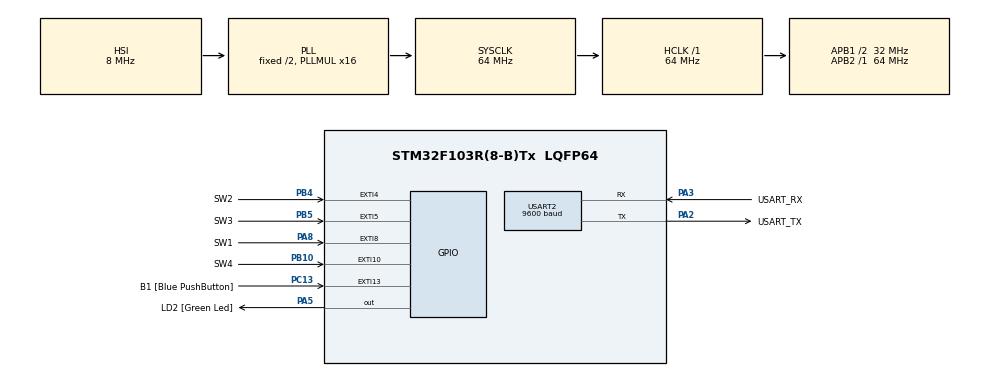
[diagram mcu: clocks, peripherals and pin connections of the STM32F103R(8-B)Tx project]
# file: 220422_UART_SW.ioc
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Mcu.Family=STM32F1
Mcu.Name=STM32F103R(8-B)Tx
Mcu.Package=LQFP64
NVIC.EXTI15_10_IRQn=true\:0\:0\:false\:false\:true\:true\:true\:true
NVIC.EXTI4_IRQn=true\:0\:0\:false\:false\:true\:true\:true\:true
NVIC.EXTI9_5_IRQn=true\:0\:0\:false\:false\:true\:true\:true\:true
NVIC.PriorityGroup=NVIC_PRIORITYGROUP_4
PA13.GPIO_Label=TMS
PA13.Mode=Serial_Wire
PA13.Signal=SYS_JTMS-SWDIO
PA14.GPIO_Label=TCK
PA14.Mode=Serial_Wire
PA14.Signal=SYS_JTCK-SWCLK
PA2.GPIO_Label=USART_TX
PA2.GPIO_Mode=GPIO_MODE_AF_PP
PA2.GPIO_PuPd=GPIO_NOPULL
PA2.GPIO_Speed=GPIO_SPEED_FREQ_LOW
PA2.Mode=Asynchronous
PA2.Signal=USART2_TX
PA3.GPIO_Label=USART_RX
PA3.GPIO_Mode=GPIO_MODE_AF_PP
PA3.GPIO_PuPd=GPIO_NOPULL
PA3.GPIO_Speed=GPIO_SPEED_FREQ_LOW
PA3.Mode=Asynchronous
PA3.Signal=USART2_RX
PA5.GPIO_Label=LD2 [Green Led]
PA5.GPIO_ModeDefaultOutputPP=GPIO_MODE_OUTPUT_PP
PA5.GPIO_PuPd=GPIO_NOPULL
PA5.GPIO_Speed=GPIO_SPEED_FREQ_LOW
PA5.Signal=GPIO_Output
PA8.GPIO_Label=SW1
PA8.GPIO_ModeDefaultEXTI=GPIO_MODE_IT_FALLING
PA8.GPIO_PuPd=GPIO_NOPULL
PA8.Signal=GPXTI8
PB10.GPIO_Label=SW4
PB10.GPIO_ModeDefaultEXTI=GPIO_MODE_IT_FALLING
PB10.GPIO_PuPd=GPIO_NOPULL
PB10.Signal=GPXTI10
PB3.GPIO_Label=SWO
PB3.Signal=SYS_JTDO-TRACESWO
PB4.GPIO_Label=SW2
PB4.GPIO_ModeDefaultEXTI=GPIO_MODE_IT_FALLING
PB4.GPIO_PuPd=GPIO_NOPULL
PB4.Signal=GPXTI4
PB5.GPIO_Label=SW3
PB5.GPIO_ModeDefaultEXTI=GPIO_MODE_IT_FALLING
PB5.GPIO_PuPd=GPIO_NOPULL
PB5.Signal=GPXTI5
PC13-TAMPER-RTC.GPIO_Label=B1 [Blue PushButton]
PC13-TAMPER-RTC.GPIO_PuPd=GPIO_NOPULL
PC13-TAMPER-RTC.Signal=GPXTI13
PC14-OSC32_IN.Mode=LSE-External-Oscillator
PC14-OSC32_IN.Signal=RCC_OSC32_IN
PC15-OSC32_OUT.Mode=LSE-External-Oscillator
PC15-OSC32_OUT.Signal=RCC_OSC32_OUT
PD0-OSC_IN.Mode=HSE-External-Clock-Source
PD0-OSC_IN.Signal=RCC_OSC_IN
PD1-OSC_OUT.Mode=HSE-External-Clock-Source
PD1-OSC_OUT.Signal=RCC_OSC_OUT
ProjectManager.HeapSize=0x200
ProjectManager.StackSize=0x400
ProjectManager.TargetToolchain=STM32CubeIDE
RCC.AHBFreq_Value=64000000
RCC.APB1CLKDivider=RCC_HCLK_DIV2
RCC.APB1Freq_Value=32000000
RCC.APB1TimFreq_Value=64000000
RCC.APB2Freq_Value=64000000
RCC.APB2TimFreq_Value=64000000
RCC.HCLKFreq_Value=64000000
RCC.PLLMUL=RCC_PLL_MUL16
RCC.RTCClockSelection=RCC_RTCCLKSOURCE_LSE
RCC.SYSCLKFreq_VALUE=64000000
RCC.SYSCLKSource=RCC_SYSCLKSOURCE_PLLCLK
RCC.USBFreq_Value=64000000
USART2.BaudRate=9600
USART2.VirtualMode=VM_ASYNC
board=NUCLEO-F103RB

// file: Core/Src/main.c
/* USER CODE BEGIN Header */
/**
  ******************************************************************************
  * @file           : main.c
  * @brief          : Main program body
  ******************************************************************************
  * @attention
  *
  * Copyright (c) 2022 STMicroelectronics.
  * All rights reserved.
  *
  * This software is licensed under terms that can be found in the LICENSE file
  * in the root directory of this software component.
  * If no LICENSE file comes with this software, it is provided AS-IS.
  *
  ******************************************************************************
  */
/* USER CODE END Header */
#include "main.h"

/* USER CODE BEGIN PD */
#define TxBufferSize (countof(TxBuffer)-1)
#define TxBufferSize_2 (countof(TxBuffer_2)-1)
#define TxBufferSize_3 (countof(TxBuffer_3)-1)
#define TxBufferSize_4 (countof(TxBuffer_4)-1)
#define TxBufferSize_5 (countof(TxBuffer_5)-1)
#define RxBufferSize 0xFF
#define countof(a) (sizeof(a)/sizeof(*a))
/* USER CODE END PD */

 UART_HandleTypeDef huart2;

/* USER CODE BEGIN PV */
uint8_t TxBuffer[] = "\n\rUART Example 2 (Transmission Success !!)\n\r\n\r";
uint8_t TxBuffer_2[] = "\n\r Button1 is pressed !!\n\r";
uint8_t TxBuffer_3[] = "\n\r Button2 is pressed !!\n\r";
uint8_t TxBuffer_4[] = "\n\r Button3 is pressed !!\n\r";
uint8_t TxBuffer_5[] = "\n\r Button4 is pressed !!\n\r";
uint8_t RxBuffer[RxBufferSize];
/* USER CODE END PV */

void SystemClock_Config(void);
static void MX_GPIO_Init(void);
static void MX_USART2_UART_Init(void);

int main(void)
{

  /* MCU Configuration--------------------------------------------------------*/

  /* Reset of all peripherals, Initializes the Flash interface and the Systick. */
  HAL_Init();

  /* Configure the system clock */
  SystemClock_Config();

  /* Initialize all configured peripherals */
  MX_GPIO_Init();
  MX_USART2_UART_Init();
  /* USER CODE BEGIN 2 */
  HAL_UART_Transmit(&huart2, (uint8_t*)TxBuffer, TxBufferSize, 0xFFFF);
  /* USER CODE END 2 */

  /* Infinite loop */
  while (1)
  {

  }
}

void SystemClock_Config(void)
{
  RCC_OscInitTypeDef RCC_OscInitStruct = {0};
  RCC_ClkInitTypeDef RCC_ClkInitStruct = {0};

  /** Initializes the RCC Oscillators according to the specified parameters
  * in the RCC_OscInitTypeDef structure.
  */
  RCC_OscInitStruct.OscillatorType = RCC_OSCILLATORTYPE_HSI;
  RCC_OscInitStruct.HSIState = RCC_HSI_ON;
  RCC_OscInitStruct.HSICalibrationValue = RCC_HSICALIBRATION_DEFAULT;
  RCC_OscInitStruct.PLL.PLLState = RCC_PLL_ON;
  RCC_OscInitStruct.PLL.PLLSource = RCC_PLLSOURCE_HSI_DIV2;
  RCC_OscInitStruct.PLL.PLLMUL = RCC_PLL_MUL16;
  if (HAL_RCC_OscConfig(&RCC_OscInitStruct) != HAL_OK)
  {
    Error_Handler();
  }

  /** Initializes the CPU, AHB and APB buses clocks
  */
  RCC_ClkInitStruct.ClockType = RCC_CLOCKTYPE_HCLK|RCC_CLOCKTYPE_SYSCLK
                              |RCC_CLOCKTYPE_PCLK1|RCC_CLOCKTYPE_PCLK2;
  RCC_ClkInitStruct.SYSCLKSource = RCC_SYSCLKSOURCE_PLLCLK;
  RCC_ClkInitStruct.AHBCLKDivider = RCC_SYSCLK_DIV1;
  RCC_ClkInitStruct.APB1CLKDivider = RCC_HCLK_DIV2;
  RCC_ClkInitStruct.APB2CLKDivider = RCC_HCLK_DIV1;

  if (HAL_RCC_ClockConfig(&RCC_ClkInitStruct, FLASH_LATENCY_2) != HAL_OK)
  {
    Error_Handler();
  }
}

static void MX_USART2_UART_Init(void)
{

  huart2.Instance = USART2;
  huart2.Init.BaudRate = 9600;
  huart2.Init.WordLength = UART_WORDLENGTH_8B;
  huart2.Init.StopBits = UART_STOPBITS_1;
  huart2.Init.Parity = UART_PARITY_NONE;
  huart2.Init.Mode = UART_MODE_TX_RX;
  huart2.Init.HwFlowCtl = UART_HWCONTROL_NONE;
  huart2.Init.OverSampling = UART_OVERSAMPLING_16;
  if (HAL_UART_Init(&huart2) != HAL_OK)
  {
    Error_Handler();
  }

}

static void MX_GPIO_Init(void)
{
  GPIO_InitTypeDef GPIO_InitStruct = {0};

  /* GPIO Ports Clock Enable */
  __HAL_RCC_GPIOC_CLK_ENABLE();
  __HAL_RCC_GPIOD_CLK_ENABLE();
  __HAL_RCC_GPIOA_CLK_ENABLE();
  __HAL_RCC_GPIOB_CLK_ENABLE();

  /*Configure GPIO pin Output Level */
  HAL_GPIO_WritePin(LD2_GPIO_Port, LD2_Pin, GPIO_PIN_RESET);

  /*Configure GPIO pin : B1_Pin */
  GPIO_InitStruct.Pin = B1_Pin;
  GPIO_InitStruct.Mode = GPIO_MODE_IT_RISING;
  GPIO_InitStruct.Pull = GPIO_NOPULL;
  HAL_GPIO_Init(B1_GPIO_Port, &GPIO_InitStruct);

  /*Configure GPIO pin : LD2_Pin */
  GPIO_InitStruct.Pin = LD2_Pin;
  GPIO_InitStruct.Mode = GPIO_MODE_OUTPUT_PP;
  GPIO_InitStruct.Pull = GPIO_NOPULL;
  GPIO_InitStruct.Speed = GPIO_SPEED_FREQ_LOW;
  HAL_GPIO_Init(LD2_GPIO_Port, &GPIO_InitStruct);

  /*Configure GPIO pins : SW4_Pin SW2_Pin SW3_Pin */
  GPIO_InitStruct.Pin = SW4_Pin|SW2_Pin|SW3_Pin;
  GPIO_InitStruct.Mode = GPIO_MODE_IT_FALLING;
  GPIO_InitStruct.Pull = GPIO_NOPULL;
  HAL_GPIO_Init(GPIOB, &GPIO_InitStruct);

  /*Configure GPIO pin : SW1_Pin */
  GPIO_InitStruct.Pin = SW1_Pin;
  GPIO_InitStruct.Mode = GPIO_MODE_IT_FALLING;
  GPIO_InitStruct.Pull = GPIO_NOPULL;
  HAL_GPIO_Init(SW1_GPIO_Port, &GPIO_InitStruct);

  /* EXTI interrupt init*/
  HAL_NVIC_SetPriority(EXTI4_IRQn, 0, 0);
  HAL_NVIC_EnableIRQ(EXTI4_IRQn);

  HAL_NVIC_SetPriority(EXTI9_5_IRQn, 0, 0);
  HAL_NVIC_EnableIRQ(EXTI9_5_IRQn);

  HAL_NVIC_SetPriority(EXTI15_10_IRQn, 0, 0);
  HAL_NVIC_EnableIRQ(EXTI15_10_IRQn);

}

/* USER CODE BEGIN 4 */
void HAL_GPIO_EXTI_Callback(uint16_t GPIO_Pin){
	if(GPIO_Pin == SW1_Pin) HAL_UART_Transmit(&huart2, (uint8_t*)TxBuffer_2, TxBufferSize_2, 0xFFFF);
	if(GPIO_Pin == SW2_Pin) HAL_UART_Transmit(&huart2, (uint8_t*)TxBuffer_3, TxBufferSize_3, 0xFFFF);
	if(GPIO_Pin == SW3_Pin) HAL_UART_Transmit(&huart2, (uint8_t*)TxBuffer_4, TxBufferSize_4, 0xFFFF);
	if(GPIO_Pin == SW4_Pin) HAL_UART_Transmit(&huart2, (uint8_t*)TxBuffer_5, TxBufferSize_5, 0xFFFF);
}
/* USER CODE END 4 */

void Error_Handler(void)
{
  __disable_irq();
  while (1)
  {
  }
}
